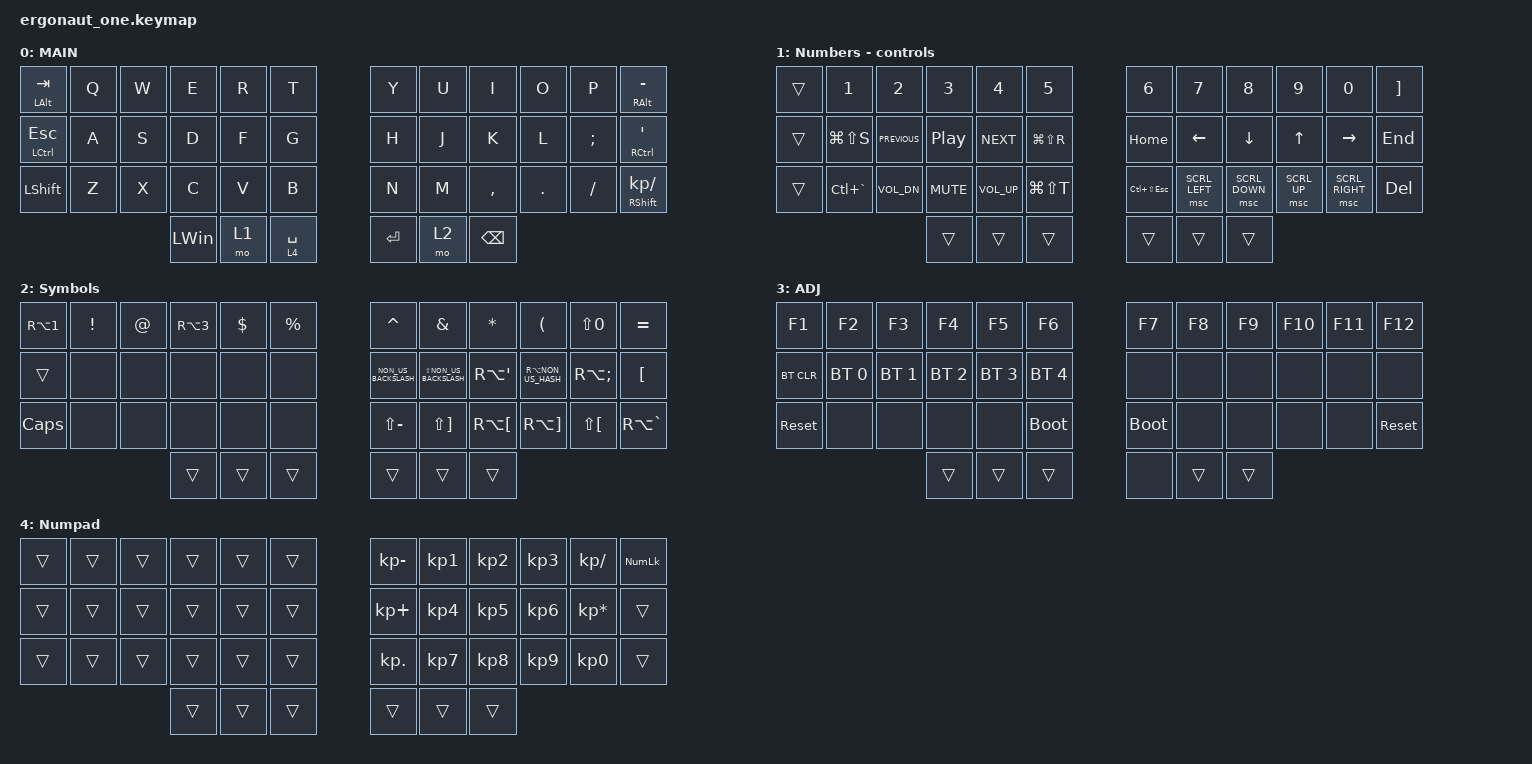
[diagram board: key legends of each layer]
#define ZMK_POINTING_DEFAULT_SCRL_VAL 40    // default: 10

#include <behaviors.dtsi>
#include <dt-bindings/zmk/bt.h>
#include <dt-bindings/zmk/keys.h>
#include <dt-bindings/zmk/pointing.h>

#define DEF 0
#define LWR 1
#define RSE 2
#define ADJ 3

&lt { quick-tap-ms = <200>; };

&mt {
    quick-tap-ms = <200>;
    flavor = "tap-preferred";
};

&msc {
    acceleration-exponent = <100>;
    time-to-max-speed-ms = <0>;
};

/ {
    conditional_layers {
        compatible = "zmk,conditional-layers";

        tri-layer {
            if-layers = <1 2>;
            then-layer = <3>;
        };
    };

    behaviors {
        hold_tap: hold_tap {
            compatible = "zmk,behavior-hold-tap";
            label = "HOLD_TAP";
            bindings = <&kp>, <&kp>;

            #binding-cells = <2>;
            tapping-term-ms = <120>;
            flavor = "tap-preferred";
            retro-tap;
        };
    };

    keymap {
        compatible = "zmk,keymap";

        default_layer {
            display-name = "MAIN";
            bindings = <
&mt LEFT_ALT TAB  &kp Q  &kp W  &kp E         &kp R  &kp T        &kp Y      &kp U  &kp I          &kp O    &kp P     &mt RIGHT_ALT MINUS
&mt LCTRL ESCAPE  &kp A  &kp S  &kp D         &kp F  &kp G        &kp H      &kp J  &kp K          &kp L    &kp SEMI  &mt RCTRL SQT
&kp LEFT_SHIFT    &kp Z  &kp X  &kp C         &kp V  &kp B        &kp N      &kp M  &kp COMMA      &kp DOT  &kp FSLH  &hold_tap RIGHT_SHIFT KP_DIVIDE
                                &kp LEFT_WIN  &mo 1  &lt 4 SPACE  &kp ENTER  &mo 2  &kp BACKSPACE
            >;
        };

        lower_layer {
            display-name = "Numbers - controls";
            bindings = <
&trans  &kp NUMBER_1   &kp NUMBER_2    &kp NUMBER_3      &kp NUMBER_4  &kp NUMBER_5   &kp NUMBER_6     &kp NUMBER_7    &kp NUMBER_8    &kp NUMBER_9  &kp NUMBER_0     &kp RIGHT_BRACKET
&trans  &kp LG(LS(S))  &kp C_PREVIOUS  &kp C_PLAY_PAUSE  &kp C_NEXT    &kp LG(LS(R))  &kp HOME         &kp LEFT        &kp DOWN        &kp UP        &kp RIGHT        &kp END
&trans  &kp LC(GRAVE)  &kp C_VOL_DN    &kp C_MUTE        &kp C_VOL_UP  &kp LG(LS(T))  &kp LC(LS(ESC))  &msc SCRL_LEFT  &msc SCRL_DOWN  &msc SCRL_UP  &msc SCRL_RIGHT  &kp DELETE
                                       &trans            &trans        &trans         &trans           &trans          &trans
            >;
        };

        raise_layer {
            display-name = "Symbols";
            bindings = <
&kp RA(NUMBER_1)  &kp EXCLAMATION  &kp AT  &kp RA(NUMBER_3)  &kp DOLLAR  &kp PERCENT  &kp CARET             &kp AMPERSAND             &kp ASTERISK          &kp LEFT_PARENTHESIS   &kp LS(N0)            &kp EQUAL
&trans            &none            &none   &none             &none       &none        &kp NON_US_BACKSLASH  &kp LS(NON_US_BACKSLASH)  &kp RA(SINGLE_QUOTE)  &kp RA(NON_US_HASH)    &kp RA(SEMICOLON)     &kp LEFT_BRACKET
&kp CAPSLOCK      &none            &none   &none             &none       &none        &kp LS(MINUS)         &kp LS(RIGHT_BRACKET)     &kp RA(LEFT_BRACKET)  &kp RA(RIGHT_BRACKET)  &kp LS(LEFT_BRACKET)  &kp RA(GRAVE)
                                           &trans            &trans      &trans       &trans                &trans                    &trans
            >;
        };

        adjust_layer {
            display-name = "ADJ";
            bindings = <
&kp F1      &kp F2        &kp F3        &kp F4        &kp F5        &kp F6        &kp F7       &kp F8  &kp F9  &kp F10  &kp F11  &kp F12
&bt BT_CLR  &bt BT_SEL 0  &bt BT_SEL 1  &bt BT_SEL 2  &bt BT_SEL 3  &bt BT_SEL 4  &none        &none   &none   &none    &none    &none
&sys_reset  &none         &none         &none         &none         &bootloader   &bootloader  &none   &none   &none    &none    &sys_reset
                                        &trans        &trans        &trans        &none        &trans  &trans
            >;
        };

        Numpad {
            bindings = <
&trans  &trans  &trans  &trans  &trans  &trans  &kp KP_MINUS  &kp KP_NUMBER_1  &kp KP_NUMBER_2  &kp KP_NUMBER_3  &kp KP_DIVIDE    &kp KP_NUM
&trans  &trans  &trans  &trans  &trans  &trans  &kp KP_PLUS   &kp KP_NUMBER_4  &kp KP_NUMBER_5  &kp KP_NUMBER_6  &kp KP_MULTIPLY  &trans
&trans  &trans  &trans  &trans  &trans  &trans  &kp KP_DOT    &kp KP_NUMBER_7  &kp KP_NUMBER_8  &kp KP_NUMBER_9  &kp KP_NUMBER_0  &trans
                        &trans  &trans  &trans  &trans        &trans           &trans
            >;
        };
    };
};
